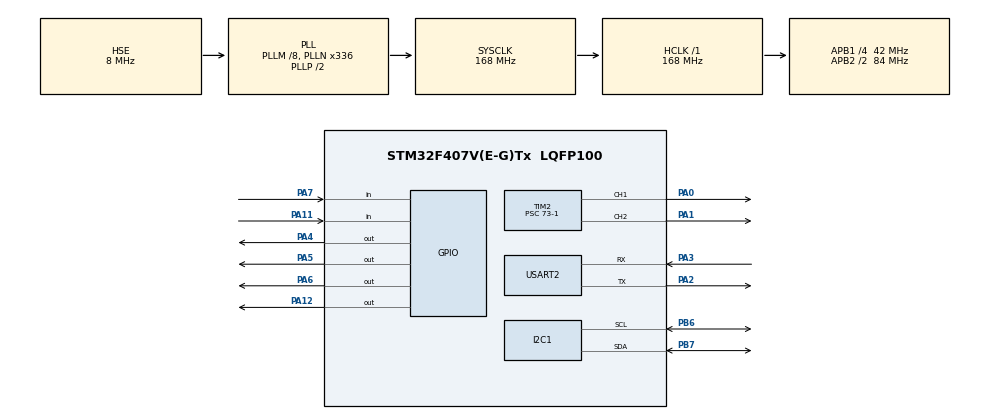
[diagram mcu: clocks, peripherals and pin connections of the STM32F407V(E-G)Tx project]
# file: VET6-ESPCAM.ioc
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Mcu.Family=STM32F4
Mcu.Name=STM32F407V(E-G)Tx
Mcu.Package=LQFP100
NVIC.PriorityGroup=NVIC_PRIORITYGROUP_4
NVIC.USART2_IRQn=true\:0\:0\:false\:false\:true\:true\:true\:true
PA0-WKUP.Signal=S_TIM2_CH1_ETR
PA1.Signal=S_TIM2_CH2
PA11.Signal=GPIO_Input
PA12.GPIO_Speed=GPIO_SPEED_FREQ_HIGH
PA12.Signal=GPIO_Output
PA13.Mode=Trace_Synchro_1bit_SW
PA13.Signal=SYS_JTMS-SWDIO
PA14.Mode=Trace_Synchro_1bit_SW
PA14.Signal=SYS_JTCK-SWCLK
PA2.Mode=Asynchronous
PA2.Signal=USART2_TX
PA3.Mode=Asynchronous
PA3.Signal=USART2_RX
PA4.Signal=GPIO_Output
PA5.Signal=GPIO_Output
PA6.GPIO_Speed=GPIO_SPEED_FREQ_HIGH
PA6.Signal=GPIO_Output
PA7.Signal=GPIO_Input
PB6.Mode=I2C
PB6.Signal=I2C1_SCL
PB7.Mode=I2C
PB7.Signal=I2C1_SDA
PE2.Mode=Trace_Synchro_1bit_SW
PE2.Signal=SYS_TRACECLK
PE3.Mode=Trace_Synchro_1bit_SW
PE3.Signal=SYS_TRACED0
PH0-OSC_IN.Mode=HSE-External-Oscillator
PH0-OSC_IN.Signal=RCC_OSC_IN
PH1-OSC_OUT.Mode=HSE-External-Oscillator
PH1-OSC_OUT.Signal=RCC_OSC_OUT
ProjectManager.HeapSize=0x200
ProjectManager.StackSize=0x400
ProjectManager.TargetToolchain=MDK-ARM V5.32
RCC.48MHZClocksFreq_Value=84000000
RCC.AHBFreq_Value=168000000
RCC.APB1CLKDivider=RCC_HCLK_DIV4
RCC.APB1Freq_Value=42000000
RCC.APB1TimFreq_Value=84000000
RCC.APB2CLKDivider=RCC_HCLK_DIV2
RCC.APB2Freq_Value=84000000
RCC.APB2TimFreq_Value=168000000
RCC.CortexFreq_Value=168000000
RCC.HCLKFreq_Value=168000000
RCC.HSE_VALUE=8000000
RCC.HSI_VALUE=16000000
RCC.LSE_VALUE=32768
RCC.PLLM=8
RCC.PLLN=336
RCC.PLLSourceVirtual=RCC_PLLSOURCE_HSE
RCC.SYSCLKFreq_VALUE=168000000
RCC.SYSCLKSource=RCC_SYSCLKSOURCE_PLLCLK
RCC.VCOOutputFreq_Value=336000000
SH.S_TIM2_CH1_ETR.0=TIM2_CH1,PWM Generation1 CH1
SH.S_TIM2_CH2.0=TIM2_CH2,PWM Generation2 CH2
TIM2.Channel-PWM\ Generation1\ CH1=TIM_CHANNEL_1
TIM2.Channel-PWM\ Generation2\ CH2=TIM_CHANNEL_2
TIM2.Period=10000-1
TIM2.Prescaler=73-1
USART2.VirtualMode=VM_ASYNC
VP_TIM2_VS_ClockSourceINT.Mode=Internal
board=custom

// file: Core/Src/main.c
/* USER CODE BEGIN Header */
/**
  ******************************************************************************
  * @file           : main.c
  * @brief          : Main program body
  ******************************************************************************
  * @attention
  *
  * Copyright (c) 2024 STMicroelectronics.
  * All rights reserved.
  *
  * This software is licensed under terms that can be found in the LICENSE file
  * in the root directory of this software component.
  * If no LICENSE file comes with this software, it is provided AS-IS.
  *
  ******************************************************************************
  */
/* USER CODE END Header */
#include "main.h"
#include "i2c.h"
#include "tim.h"
#include "usart.h"
#include "gpio.h"

/* USER CODE BEGIN Includes */
#include "interrupt.h"
#include "OLED.h"
#include "HX711.h"
/* USER CODE END Includes */

void SystemClock_Config(void);

int main(void)
{

  /* MCU Configuration--------------------------------------------------------*/

  /* Reset of all peripherals, Initializes the Flash interface and the Systick. */
  HAL_Init();

  /* Configure the system clock */
  SystemClock_Config();

  /* Initialize all configured peripherals */
  MX_GPIO_Init();
  MX_USART2_UART_Init();
  MX_I2C1_Init();
  MX_TIM2_Init();

  /* USER CODE BEGIN 2 */
  OLED_Init();
  HX711_GPIO_Init();
  OLED_Clear();
  float temperature=23.5;
  float humidity=45.6;
  int Food=56;int water=78;
  HAL_UART_Receive_IT(&huart2,(uint8_t *)&USART2_NewData,1);
  int time=0;
  uint8_t data[] = {0x2C,0x12,temperature,humidity,Food,water,0x5B};
uint32_t wei;

HAL_TIM_PWM_Start(&htim2, TIM_CHANNEL_1);
HAL_TIM_PWM_Start(&htim2, TIM_CHANNEL_2);

__HAL_TIM_SET_COMPARE(&htim2, TIM_CHANNEL_2, 3000);
__HAL_TIM_SET_COMPARE(&htim2, TIM_CHANNEL_1, 4500);

  /* USER CODE END 2 */

  /* Infinite loop */
  /* USER CODE BEGIN WHILE */
  while (1)
  {
    // time++;
    /* USER CODE END WHILE */
  HAL_GPIO_WritePin(GPIOA,GPIO_PIN_4,GPIO_PIN_SET);

    /* USER CODE BEGIN 3 */
    // if ((time>8000000))
    // {
    // wei=Read_HX711();
    // OLED_ShowNum(0,0,wei,10,16);
    // }

  }
  /* USER CODE END 3 */
}

void SystemClock_Config(void)
{
  RCC_OscInitTypeDef RCC_OscInitStruct = {0};
  RCC_ClkInitTypeDef RCC_ClkInitStruct = {0};

  /** Configure the main internal regulator output voltage
  */
  __HAL_RCC_PWR_CLK_ENABLE();
  __HAL_PWR_VOLTAGESCALING_CONFIG(PWR_REGULATOR_VOLTAGE_SCALE1);

  /** Initializes the RCC Oscillators according to the specified parameters
  * in the RCC_OscInitTypeDef structure.
  */
  RCC_OscInitStruct.OscillatorType = RCC_OSCILLATORTYPE_HSE;
  RCC_OscInitStruct.HSEState = RCC_HSE_ON;
  RCC_OscInitStruct.PLL.PLLState = RCC_PLL_ON;
  RCC_OscInitStruct.PLL.PLLSource = RCC_PLLSOURCE_HSE;
  RCC_OscInitStruct.PLL.PLLM = 8;
  RCC_OscInitStruct.PLL.PLLN = 336;
  RCC_OscInitStruct.PLL.PLLP = RCC_PLLP_DIV2;
  RCC_OscInitStruct.PLL.PLLQ = 4;
  if (HAL_RCC_OscConfig(&RCC_OscInitStruct) != HAL_OK)
  {
    Error_Handler();
  }

  /** Initializes the CPU, AHB and APB buses clocks
  */
  RCC_ClkInitStruct.ClockType = RCC_CLOCKTYPE_HCLK|RCC_CLOCKTYPE_SYSCLK
                              |RCC_CLOCKTYPE_PCLK1|RCC_CLOCKTYPE_PCLK2;
  RCC_ClkInitStruct.SYSCLKSource = RCC_SYSCLKSOURCE_PLLCLK;
  RCC_ClkInitStruct.AHBCLKDivider = RCC_SYSCLK_DIV1;
  RCC_ClkInitStruct.APB1CLKDivider = RCC_HCLK_DIV4;
  RCC_ClkInitStruct.APB2CLKDivider = RCC_HCLK_DIV2;

  if (HAL_RCC_ClockConfig(&RCC_ClkInitStruct, FLASH_LATENCY_5) != HAL_OK)
  {
    Error_Handler();
  }
}

void Error_Handler(void)
{
  __disable_irq();
  while (1)
  {
  }
}
